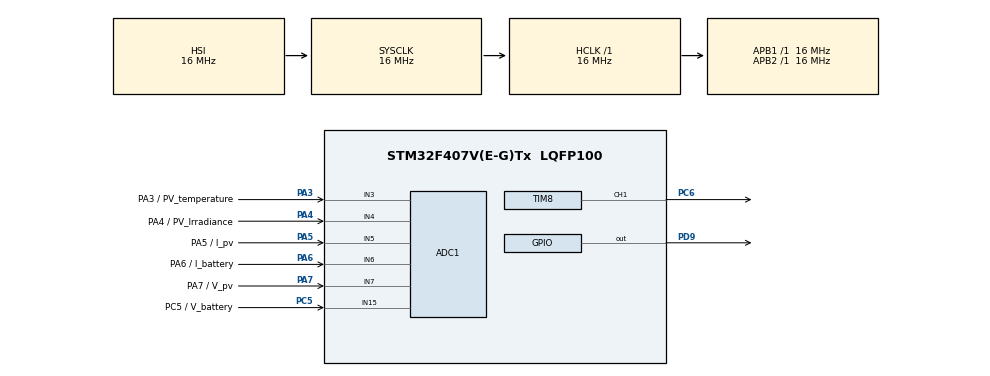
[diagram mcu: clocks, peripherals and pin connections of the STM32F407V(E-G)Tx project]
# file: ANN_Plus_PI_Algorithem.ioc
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ADC1.Channel-0\#ChannelRegularConversion=ADC_CHANNEL_7
ADC1.Channel-1\#ChannelRegularConversion=ADC_CHANNEL_5
ADC1.Channel-2\#ChannelRegularConversion=ADC_CHANNEL_15
ADC1.Channel-3\#ChannelRegularConversion=ADC_CHANNEL_6
ADC1.Channel-4\#ChannelRegularConversion=ADC_CHANNEL_4
ADC1.Channel-5\#ChannelRegularConversion=ADC_CHANNEL_3
ADC1.ContinuousConvMode=ENABLE
ADC1.DMAContinuousRequests=ENABLE
ADC1.InjNumberOfConversion=0
ADC1.NbrOfConversion=6
ADC1.NbrOfConversionFlag=1
ADC1.Rank-0\#ChannelRegularConversion=1
ADC1.Rank-1\#ChannelRegularConversion=2
ADC1.Rank-2\#ChannelRegularConversion=3
ADC1.Rank-3\#ChannelRegularConversion=4
ADC1.Rank-4\#ChannelRegularConversion=5
ADC1.Rank-5\#ChannelRegularConversion=6
ADC1.SamplingTime-0\#ChannelRegularConversion=ADC_SAMPLETIME_480CYCLES
ADC1.SamplingTime-1\#ChannelRegularConversion=ADC_SAMPLETIME_480CYCLES
ADC1.SamplingTime-2\#ChannelRegularConversion=ADC_SAMPLETIME_480CYCLES
ADC1.SamplingTime-3\#ChannelRegularConversion=ADC_SAMPLETIME_480CYCLES
ADC1.SamplingTime-4\#ChannelRegularConversion=ADC_SAMPLETIME_480CYCLES
ADC1.SamplingTime-5\#ChannelRegularConversion=ADC_SAMPLETIME_480CYCLES
ADC1.ScanConvMode=ENABLE
ADC1.master=1
Dma.ADC1.0.Direction=DMA_PERIPH_TO_MEMORY
Dma.ADC1.0.FIFOMode=DMA_FIFOMODE_DISABLE
Dma.ADC1.0.Instance=DMA2_Stream0
Dma.ADC1.0.MemDataAlignment=DMA_MDATAALIGN_WORD
Dma.ADC1.0.MemInc=DMA_MINC_ENABLE
Dma.ADC1.0.Mode=DMA_CIRCULAR
Dma.ADC1.0.PeriphDataAlignment=DMA_PDATAALIGN_WORD
Dma.ADC1.0.PeriphInc=DMA_PINC_DISABLE
Dma.ADC1.0.Priority=DMA_PRIORITY_LOW
Dma.Request0=ADC1
Mcu.Family=STM32F4
Mcu.Name=STM32F407V(E-G)Tx
Mcu.Package=LQFP100
NVIC.DMA2_Stream0_IRQn=true\:0\:0\:false\:false\:true\:false\:true\:true
NVIC.PriorityGroup=NVIC_PRIORITYGROUP_4
PA13.Mode=Serial_Wire
PA13.Signal=SYS_JTMS-SWDIO
PA14.Mode=Serial_Wire
PA14.Signal=SYS_JTCK-SWCLK
PA3.GPIO_Label=PA3 / PV_temperature
PA3.Signal=ADCx_IN3
PA4.GPIO_Label=PA4 / PV_Irradiance
PA4.Signal=ADCx_IN4
PA5.GPIO_Label=PA5 / I_pv
PA5.Signal=ADCx_IN5
PA6.GPIO_Label=PA6 / I_battery
PA6.Signal=ADCx_IN6
PA7.GPIO_Label=PA7 / V_pv
PA7.Signal=ADCx_IN7
PC5.GPIO_Label=PC5 / V_battery
PC5.Signal=ADCx_IN15
PC6.Signal=S_TIM8_CH1
PD9.Signal=GPIO_Output
PH0-OSC_IN.Mode=HSE-External-Oscillator
PH0-OSC_IN.Signal=RCC_OSC_IN
PH1-OSC_OUT.Mode=HSE-External-Oscillator
PH1-OSC_OUT.Signal=RCC_OSC_OUT
ProjectManager.HeapSize=0x800
ProjectManager.StackSize=0x800
ProjectManager.TargetToolchain=STM32CubeIDE
RCC.AHBFreq_Value=16000000
RCC.APB1Freq_Value=16000000
RCC.APB2Freq_Value=16000000
RCC.CortexFreq_Value=16000000
RCC.HSE_VALUE=25000000
RCC.HSI_VALUE=16000000
RCC.LSE_VALUE=32768
RCC.SYSCLKFreq_VALUE=16000000
RCC.VCOOutputFreq_Value=192000000
SH.ADCx_IN15.0=ADC1_IN15,IN15
SH.ADCx_IN3.0=ADC1_IN3,IN3
SH.ADCx_IN4.0=ADC1_IN4,IN4
SH.ADCx_IN5.0=ADC1_IN5,IN5
SH.ADCx_IN6.0=ADC1_IN6,IN6
SH.ADCx_IN7.0=ADC1_IN7,IN7
SH.S_TIM8_CH1.0=TIM8_CH1,PWM Generation1 CH1
STMicroelectronics.X-CUBE-AI.10.2.0.ActivationBufferSizeList=2004
STMicroelectronics.X-CUBE-AI.10.2.0.ActivationBuffers=pool0
STMicroelectronics.X-CUBE-AI.10.2.0.ActivationNames=pool0
STMicroelectronics.X-CUBE-AI.10.2.0.ActivationSizes=AI_NETWORK_DATA_ACTIVATION_1_SIZE
STMicroelectronics.X-CUBE-AI.10.2.0.HeapSize=0x800
STMicroelectronics.X-CUBE-AI.10.2.0.InternalRamActivationBufferMaxSize=AI_NETWORK_DATA_ACTIVATIONS_SIZE
STMicroelectronics.X-CUBE-AI.10.2.0.LatestDirectoryUsed-f318620d24b7a1d19e5ffbb8ea642cc4ef4efc0b6467e1b2cea0b8c55118c80e=C\:\\Users\\RASITH\\Desktop\\FYP\\stm32
STMicroelectronics.X-CUBE-AI.10.2.0.MaximumNumberOfInputLayer=1
STMicroelectronics.X-CUBE-AI.10.2.0.MaximumNumberOfOutputLayer=1
STMicroelectronics.X-CUBE-AI.10.2.0.MaximumSizeOfInputLayer=1
STMicroelectronics.X-CUBE-AI.10.2.0.MaximumSizeOfOutputLayer=1
STMicroelectronics.X-CUBE-AI.10.2.0.ModelActualCompression-f318620d24b7a1d19e5ffbb8ea642cc4ef4efc0b6467e1b2cea0b8c55118c80e=0.0
STMicroelectronics.X-CUBE-AI.10.2.0.ModelCompression-f318620d24b7a1d19e5ffbb8ea642cc4ef4efc0b6467e1b2cea0b8c55118c80e=None
STMicroelectronics.X-CUBE-AI.10.2.0.ModelFlashOccupation-f318620d24b7a1d19e5ffbb8ea642cc4ef4efc0b6467e1b2cea0b8c55118c80e=11572
STMicroelectronics.X-CUBE-AI.10.2.0.ModelHashList=f318620d24b7a1d19e5ffbb8ea642cc4ef4efc0b6467e1b2cea0b8c55118c80e
STMicroelectronics.X-CUBE-AI.10.2.0.ModelKind-f318620d24b7a1d19e5ffbb8ea642cc4ef4efc0b6467e1b2cea0b8c55118c80e=ONNX
STMicroelectronics.X-CUBE-AI.10.2.0.ModelMacc-f318620d24b7a1d19e5ffbb8ea642cc4ef4efc0b6467e1b2cea0b8c55118c80e=753
STMicroelectronics.X-CUBE-AI.10.2.0.ModelName-f318620d24b7a1d19e5ffbb8ea642cc4ef4efc0b6467e1b2cea0b8c55118c80e=network
STMicroelectronics.X-CUBE-AI.10.2.0.ModelNameList=network
STMicroelectronics.X-CUBE-AI.10.2.0.ModelRamOccupation-f318620d24b7a1d19e5ffbb8ea642cc4ef4efc0b6467e1b2cea0b8c55118c80e=2004
STMicroelectronics.X-CUBE-AI.10.2.0.ModelStructureFile-f318620d24b7a1d19e5ffbb8ea642cc4ef4efc0b6467e1b2cea0b8c55118c80e=mppt_simulink_model.onnx
STMicroelectronics.X-CUBE-AI.10.2.0.ModelType-f318620d24b7a1d19e5ffbb8ea642cc4ef4efc0b6467e1b2cea0b8c55118c80e=STM32Cube.AI MCU runtime
STMicroelectronics.X-CUBE-AI.10.2.0.ReadyForCodeGeneration=true
STMicroelectronics.X-CUBE-AI.10.2.0.StackSize=0x800
STMicroelectronics.X-CUBE-AI.10.2.0.WorkingBufferStartAddrList=0xFFFFFFFF
STMicroelectronics.X-CUBE-AI.10.2.0.XAaCUBEAaAICcArtificialOoIntelligenceJjCore=true
STMicroelectronics.X-CUBE-AI.10.2.0.copyWeightToRam=false
STMicroelectronics.X-CUBE-AI.10.2.0.customLayerConfigEnabled=false
STMicroelectronics.X-CUBE-AI.10.2.0.noOnnxIoTranspose=false
STMicroelectronics.X-CUBE-AI.10.2.0.useInputAllocation=true
STMicroelectronics.X-CUBE-AI.10.2.0.useOutputAllocation=true
TIM8.Channel-PWM\ Generation1\ CH1=TIM_CHANNEL_1
VP_STMicroelectronics.X-CUBE-AI_VS_ArtificialOoIntelligenceJjXAaCUBEAaAI_10.2.0.Mode=ArtificialOoIntelligenceJjXAaCUBEAaAI
board=custom

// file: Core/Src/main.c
/* USER CODE BEGIN Header */
/**
  ******************************************************************************
  * @file           : main.c
  * @brief          : Main program body - IC MPPT with Under-Voltage Protection
  ******************************************************************************
  */
/* USER CODE END Header */
#include "main.h"
#include <math.h> // Needed for fabs()

/* USER CODE BEGIN Includes */
#include "ai_platform.h"
#include "network.h"
#include "network_data.h"
/* USER CODE END Includes */

ADC_HandleTypeDef hadc1;
DMA_HandleTypeDef hdma_adc1;

TIM_HandleTypeDef htim8;

/* USER CODE BEGIN PV */
// Raw ADC values updated automatically by DMA
// [0]=V_pv, [1]=I_pv, [2]=V_bat, [3]=I_bat, [4]=Irr, [5]=Temp
volatile uint32_t adc_values[6];

// Float array to hold the calculated real-world values for Live Expressions
volatile float actual_values[6];

// --- AI SCALING CONSTANTS ---
#define IRR_MIN  100.0f
#define IRR_MAX  1000.0f
#define TEMP_MIN 14.0f
#define TEMP_MAX 60.0f

// --- PI CONTROLLER CONSTANTS ---
#define Kp 0.01f         // PI Proportional Gain
#define Ki 2.0f          // PI Integral Gain
#define Ts 0.01f         // Time Step (10ms since the loop runs every 10ms)
#define DUTY_MIN 0.15f
#define DUTY_MAX 0.85f

float I_term = 0.0f;
float Duty_Cycle = 0.15f;

// --- AI MODEL HANDLES ---
ai_handle network;
float ai_in_data[4];
float ai_out_data[1];
ai_buffer ai_input[1];
ai_buffer ai_output[1];

// Timing variable for MPPT execution rate
uint32_t last_mppt_run_time = 0;

// State variable for Under-Voltage Lockout (UVLO)
uint8_t system_is_active = 0; // 0 = OFF, 1 = ON
/* USER CODE END PV */

void SystemClock_Config(void);
static void MX_GPIO_Init(void);
static void MX_DMA_Init(void);
static void MX_ADC1_Init(void);
static void MX_TIM8_Init(void);

int main(void)
{

  /* MCU Configuration--------------------------------------------------------*/

  /* Reset of all peripherals, Initializes the Flash interface and the Systick. */

	HAL_Init();

  /* Configure the system clock */
  SystemClock_Config();

  /* Initialize all configured peripherals */
  MX_GPIO_Init();
  MX_DMA_Init();
  MX_ADC1_Init();
  MX_TIM8_Init();

  /* USER CODE BEGIN 2 */

  // Keep Gate Driver OFF initially for safety
  HAL_GPIO_WritePin(GPIOD, GPIO_PIN_9, GPIO_PIN_RESET);

  if (HAL_TIM_PWM_Start(&htim8, TIM_CHANNEL_1) != HAL_OK)
  {
      Error_Handler();
  }

  // Start the ADC in DMA mode
  HAL_ADC_Start_DMA(&hadc1, (uint32_t*)adc_values, 6);

  // Initialize AI Network
  ai_error err;
  err = ai_network_create(&network, AI_NETWORK_DATA_CONFIG);
  if (err.type != AI_ERROR_NONE) { Error_Handler(); }

  const ai_network_params params = AI_NETWORK_PARAMS_INIT(
      AI_NETWORK_DATA_WEIGHTS(ai_network_data_weights_get()),
      AI_NETWORK_DATA_ACTIVATIONS(NULL)
  );

  if (!ai_network_init(network, &params)) { Error_Handler(); }

  ai_input[0] = ai_network_inputs_get(network, NULL)[0];
  ai_input[0].data = AI_HANDLE_PTR(ai_in_data);

  ai_output[0] = ai_network_outputs_get(network, NULL)[0];
  ai_output[0].data = AI_HANDLE_PTR(ai_out_data);

  /* USER CODE END 2 */

  /* Infinite loop */
  /* USER CODE BEGIN WHILE */
  while (1)
  {
	  //this is normal pv soalr
      // --- CALIBRATION MATH ---
      actual_values[0] = (0.0076146f * (float)adc_values[0]) - 0.0804105f; // V_PV
      actual_values[1] = (0.0014478f * (float)adc_values[1]) - 0.1090731f; // I_PV
      actual_values[2] = (0.0111027f * (float)adc_values[2]) - 0.1062549f; // V_BATT add another resistor
      actual_values[3] = (0.0012095f * (float)adc_values[3]) + 0.1003010f; // I_BATT
      float irradiance_lux = (44.2522078f * (float)adc_values[4]) - 144.5912166f;
      actual_values[4] = irradiance_lux / 116.0f; // Convert Lux to W/m^2 (approx 1 W/m^2 = 116 Lux)
      actual_values[5] = (0.0802774f  * (float)adc_values[5]) - 5.0963303f;  // PV_Temperature (C)

      // Clamp negative values to 0 for cleaner math
      for(int i = 0; i < 4; i++) {
          if (actual_values[i] < 0.0f) actual_values[i] = 0.0f;
      }

      // --- UNDER-VOLTAGE LOCKOUT (WITH HYSTERESIS) ---
      // If the system is currently ON, but voltage drops below 10V -> Turn OFF
      if (system_is_active == 1 && actual_values[0] < 10.0f)
      {
          system_is_active = 0;
      }
      // If the system is currently OFF, wait until voltage rises above 12V to turn back ON
      else if (system_is_active == 0 && actual_values[0] > 12.0f)
      {
          system_is_active = 1;
      }

      // --- EXECUTE BASED ON SYSTEM STATE ---
      if (system_is_active == 0)
      {
          // SYSTEM OFF: Voltage is too low (Night time / heavy shade)
          HAL_GPIO_WritePin(GPIOD, GPIO_PIN_9, GPIO_PIN_RESET); // Disable Gate Driver
          __HAL_TIM_SET_COMPARE(&htim8, TIM_CHANNEL_1, 0);      // Set PWM to 0%

          // Reset MPPT variables so it starts fresh when the sun comes back
          Duty_Cycle = 0.15f;
          I_term = 0.0f;
      }
      else
      {
          // SYSTEM ON: Sun is up and voltage is stable
          HAL_GPIO_WritePin(GPIOD, GPIO_PIN_9, GPIO_PIN_SET);   // Enable Gate Driver

          // --- ANN MPPT ALGORITHM ---
          // Run the MPPT logic every 10 milliseconds (100 Hz sampling rate)
          if (HAL_GetTick() - last_mppt_run_time >= 10)
          {
              last_mppt_run_time = HAL_GetTick();

              float V_pv_raw = actual_values[0];
              float Irr_raw  = actual_values[4];
              float Temp_raw = actual_values[5];

              // 1. Scale Inputs [0.0 to 1.0]
              ai_in_data[0] = (Irr_raw - IRR_MIN) / (IRR_MAX - IRR_MIN);
              ai_in_data[1] = (Temp_raw - TEMP_MIN) / (TEMP_MAX - TEMP_MIN);

              // Clamp Inputs
              if (ai_in_data[0] > 1.0f) ai_in_data[0] = 1.0f;
              if (ai_in_data[0] < 0.0f) ai_in_data[0] = 0.0f;
              if (ai_in_data[1] > 1.0f) ai_in_data[1] = 1.0f;
              if (ai_in_data[1] < 0.0f) ai_in_data[1] = 0.0f;

              // V_pv and I_pv are MASKED in Python, so we explicitly feed 0.0
              ai_in_data[2] = 0.0f;
              ai_in_data[3] = 0.0f;

              // 2. AI Inference
              ai_network_run(network, &ai_input[0], &ai_output[0]);
              float Target_Vmpp = ai_out_data[0];

              // 3. PI Controller
              float error = V_pv_raw - Target_Vmpp;
              float P_term = Kp * error;
              float Duty_Cycle_Raw = P_term + I_term + (Ki * Ts * error);

              // 4. Anti-Windup & Clamping
              if (Duty_Cycle_Raw > DUTY_MAX) {
                  Duty_Cycle = DUTY_MAX;
                  I_term = DUTY_MAX - P_term;
              } else if (Duty_Cycle_Raw < DUTY_MIN) {
                  Duty_Cycle = DUTY_MIN;
                  I_term = DUTY_MIN - P_term;
              } else {
                  Duty_Cycle = Duty_Cycle_Raw;
                  I_term = I_term + (Ki * Ts * error);
              }

              // 5. Apply to Hardware Timer
              uint32_t timer_compare_value = (uint32_t)(Duty_Cycle * 100.0f);
              __HAL_TIM_SET_COMPARE(&htim8, TIM_CHANNEL_1, timer_compare_value);
          }
      }

      // Small delay just to prevent CPU maxing out
      HAL_Delay(1);

    /* USER CODE END WHILE */

  }
}

void SystemClock_Config(void)
{
  RCC_OscInitTypeDef RCC_OscInitStruct = {0};
  RCC_ClkInitTypeDef RCC_ClkInitStruct = {0};

  __HAL_RCC_PWR_CLK_ENABLE();
  __HAL_PWR_VOLTAGESCALING_CONFIG(PWR_REGULATOR_VOLTAGE_SCALE1);

  RCC_OscInitStruct.OscillatorType = RCC_OSCILLATORTYPE_HSI;
  RCC_OscInitStruct.HSIState = RCC_HSI_ON;
  RCC_OscInitStruct.HSICalibrationValue = RCC_HSICALIBRATION_DEFAULT;
  RCC_OscInitStruct.PLL.PLLState = RCC_PLL_NONE;
  if (HAL_RCC_OscConfig(&RCC_OscInitStruct) != HAL_OK)
  {
    Error_Handler();
  }

  RCC_ClkInitStruct.ClockType = RCC_CLOCKTYPE_HCLK|RCC_CLOCKTYPE_SYSCLK
                              |RCC_CLOCKTYPE_PCLK1|RCC_CLOCKTYPE_PCLK2;
  RCC_ClkInitStruct.SYSCLKSource = RCC_SYSCLKSOURCE_HSI;
  RCC_ClkInitStruct.AHBCLKDivider = RCC_SYSCLK_DIV1;
  RCC_ClkInitStruct.APB1CLKDivider = RCC_HCLK_DIV1;
  RCC_ClkInitStruct.APB2CLKDivider = RCC_HCLK_DIV1;

  if (HAL_RCC_ClockConfig(&RCC_ClkInitStruct, FLASH_LATENCY_0) != HAL_OK)
  {
    Error_Handler();
  }
}

static void MX_ADC1_Init(void)
{
  ADC_ChannelConfTypeDef sConfig = {0};

  hadc1.Instance = ADC1;
  hadc1.Init.ClockPrescaler = ADC_CLOCK_SYNC_PCLK_DIV2;
  hadc1.Init.Resolution = ADC_RESOLUTION_12B;
  hadc1.Init.ScanConvMode = ENABLE;
  hadc1.Init.ContinuousConvMode = ENABLE;
  hadc1.Init.DiscontinuousConvMode = DISABLE;
  hadc1.Init.ExternalTrigConvEdge = ADC_EXTERNALTRIGCONVEDGE_NONE;
  hadc1.Init.ExternalTrigConv = ADC_SOFTWARE_START;
  hadc1.Init.DataAlign = ADC_DATAALIGN_RIGHT;
  hadc1.Init.NbrOfConversion = 6;
  hadc1.Init.DMAContinuousRequests = ENABLE;
  hadc1.Init.EOCSelection = ADC_EOC_SINGLE_CONV;
  if (HAL_ADC_Init(&hadc1) != HAL_OK)
  {
    Error_Handler();
  }

  sConfig.Channel = ADC_CHANNEL_7;
  sConfig.Rank = 1;
  sConfig.SamplingTime = ADC_SAMPLETIME_480CYCLES;
  if (HAL_ADC_ConfigChannel(&hadc1, &sConfig) != HAL_OK) { Error_Handler(); }

  sConfig.Channel = ADC_CHANNEL_5;
  sConfig.Rank = 2;
  if (HAL_ADC_ConfigChannel(&hadc1, &sConfig) != HAL_OK) { Error_Handler(); }

  sConfig.Channel = ADC_CHANNEL_15;
  sConfig.Rank = 3;
  if (HAL_ADC_ConfigChannel(&hadc1, &sConfig) != HAL_OK) { Error_Handler(); }

  sConfig.Channel = ADC_CHANNEL_6;
  sConfig.Rank = 4;
  if (HAL_ADC_ConfigChannel(&hadc1, &sConfig) != HAL_OK) { Error_Handler(); }

  sConfig.Channel = ADC_CHANNEL_4;
  sConfig.Rank = 5;
  if (HAL_ADC_ConfigChannel(&hadc1, &sConfig) != HAL_OK) { Error_Handler(); }

  sConfig.Channel = ADC_CHANNEL_3;
  sConfig.Rank = 6;
  if (HAL_ADC_ConfigChannel(&hadc1, &sConfig) != HAL_OK) { Error_Handler(); }
}

static void MX_TIM8_Init(void)
{
  TIM_MasterConfigTypeDef sMasterConfig = {0};
  TIM_OC_InitTypeDef sConfigOC = {0};
  TIM_BreakDeadTimeConfigTypeDef sBreakDeadTimeConfig = {0};

  htim8.Instance = TIM8;
  htim8.Init.Prescaler = 15;
  htim8.Init.CounterMode = TIM_COUNTERMODE_UP;
  htim8.Init.Period = 99;
  htim8.Init.ClockDivision = TIM_CLOCKDIVISION_DIV1;
  htim8.Init.RepetitionCounter = 0;
  htim8.Init.AutoReloadPreload = TIM_AUTORELOAD_PRELOAD_ENABLE;
  if (HAL_TIM_PWM_Init(&htim8) != HAL_OK)
  {
    Error_Handler();
  }
  sMasterConfig.MasterOutputTrigger = TIM_TRGO_RESET;
  sMasterConfig.MasterSlaveMode = TIM_MASTERSLAVEMODE_DISABLE;
  if (HAL_TIMEx_MasterConfigSynchronization(&htim8, &sMasterConfig) != HAL_OK)
  {
    Error_Handler();
  }
  sConfigOC.OCMode = TIM_OCMODE_PWM1;
  sConfigOC.Pulse = 13;
  sConfigOC.OCPolarity = TIM_OCPOLARITY_HIGH;
  sConfigOC.OCNPolarity = TIM_OCNPOLARITY_HIGH;
  sConfigOC.OCFastMode = TIM_OCFAST_DISABLE;
  sConfigOC.OCIdleState = TIM_OCIDLESTATE_RESET;
  sConfigOC.OCNIdleState = TIM_OCNIDLESTATE_RESET;
  if (HAL_TIM_PWM_ConfigChannel(&htim8, &sConfigOC, TIM_CHANNEL_1) != HAL_OK)
  {
    Error_Handler();
  }
  sBreakDeadTimeConfig.OffStateRunMode = TIM_OSSR_DISABLE;
  sBreakDeadTimeConfig.OffStateIDLEMode = TIM_OSSI_DISABLE;
  sBreakDeadTimeConfig.LockLevel = TIM_LOCKLEVEL_OFF;
  sBreakDeadTimeConfig.DeadTime = 0;
  sBreakDeadTimeConfig.BreakState = TIM_BREAK_DISABLE;
  sBreakDeadTimeConfig.BreakPolarity = TIM_BREAKPOLARITY_HIGH;
  sBreakDeadTimeConfig.AutomaticOutput = TIM_AUTOMATICOUTPUT_DISABLE;
  if (HAL_TIMEx_ConfigBreakDeadTime(&htim8, &sBreakDeadTimeConfig) != HAL_OK)
  {
    Error_Handler();
  }
  HAL_TIM_MspPostInit(&htim8);
}

static void MX_DMA_Init(void)
{
  __HAL_RCC_DMA2_CLK_ENABLE();
  HAL_NVIC_SetPriority(DMA2_Stream0_IRQn, 0, 0);
  HAL_NVIC_EnableIRQ(DMA2_Stream0_IRQn);
}

static void MX_GPIO_Init(void)
{
  GPIO_InitTypeDef GPIO_InitStruct = {0};

  __HAL_RCC_GPIOH_CLK_ENABLE();
  __HAL_RCC_GPIOA_CLK_ENABLE();
  __HAL_RCC_GPIOC_CLK_ENABLE();
  __HAL_RCC_GPIOD_CLK_ENABLE();

  HAL_GPIO_WritePin(GPIOD, GPIO_PIN_9, GPIO_PIN_RESET);

  GPIO_InitStruct.Pin = GPIO_PIN_9;
  GPIO_InitStruct.Mode = GPIO_MODE_OUTPUT_PP;
  GPIO_InitStruct.Pull = GPIO_NOPULL;
  GPIO_InitStruct.Speed = GPIO_SPEED_FREQ_LOW;
  HAL_GPIO_Init(GPIOD, &GPIO_InitStruct);
}

void Error_Handler(void)
{
  __disable_irq();
  while (1)
  {
  }
}
